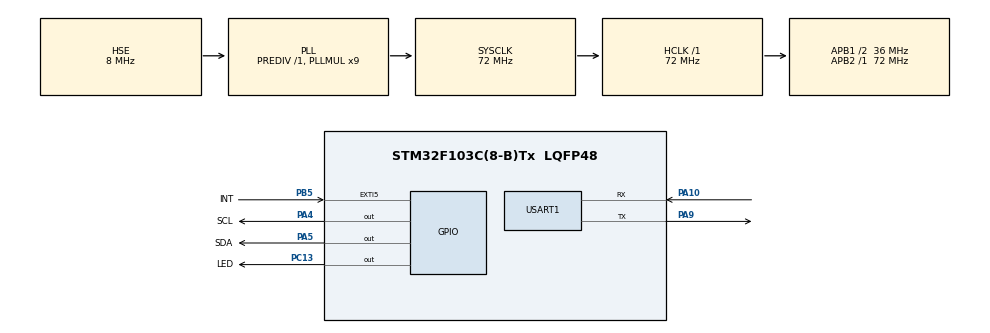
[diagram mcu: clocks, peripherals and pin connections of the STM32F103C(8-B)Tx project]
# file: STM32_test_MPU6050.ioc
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Mcu.Family=STM32F1
Mcu.Name=STM32F103C(8-B)Tx
Mcu.Package=LQFP48
NVIC.EXTI9_5_IRQn=true\:2\:1\:true\:false\:true\:true\:true\:true
NVIC.PriorityGroup=NVIC_PRIORITYGROUP_2
PA10.Mode=Asynchronous
PA10.Signal=USART1_RX
PA13.Mode=Serial_Wire
PA13.Signal=SYS_JTMS-SWDIO
PA14.Mode=Serial_Wire
PA14.Signal=SYS_JTCK-SWCLK
PA4.GPIO_Label=SCL
PA4.GPIO_ModeDefaultOutputPP=GPIO_MODE_OUTPUT_OD
PA4.GPIO_PuPd=GPIO_PULLUP
PA4.GPIO_Speed=GPIO_SPEED_FREQ_MEDIUM
PA4.Signal=GPIO_Output
PA5.GPIO_Label=SDA
PA5.GPIO_ModeDefaultOutputPP=GPIO_MODE_OUTPUT_OD
PA5.GPIO_PuPd=GPIO_PULLUP
PA5.GPIO_Speed=GPIO_SPEED_FREQ_MEDIUM
PA5.Signal=GPIO_Output
PA9.Mode=Asynchronous
PA9.Signal=USART1_TX
PB5.GPIO_Label=INT
PB5.GPIO_ModeDefaultEXTI=GPIO_MODE_IT_FALLING
PB5.GPIO_PuPd=GPIO_PULLUP
PB5.Signal=GPXTI5
PC13-TAMPER-RTC.GPIO_Label=LED
PC13-TAMPER-RTC.GPIO_ModeDefaultOutputPP=GPIO_MODE_OUTPUT_PP
PC13-TAMPER-RTC.GPIO_Speed=GPIO_SPEED_FREQ_MEDIUM
PC13-TAMPER-RTC.PinState=GPIO_PIN_SET
PC13-TAMPER-RTC.Signal=GPIO_Output
PD0-OSC_IN.Mode=HSE-External-Oscillator
PD0-OSC_IN.Signal=RCC_OSC_IN
PD1-OSC_OUT.Mode=HSE-External-Oscillator
PD1-OSC_OUT.Signal=RCC_OSC_OUT
ProjectManager.HeapSize=0x200
ProjectManager.StackSize=0x400
ProjectManager.TargetToolchain=MDK-ARM V5.27
RCC.AHBFreq_Value=72000000
RCC.APB1CLKDivider=RCC_HCLK_DIV2
RCC.APB1Freq_Value=36000000
RCC.APB1TimFreq_Value=72000000
RCC.APB2Freq_Value=72000000
RCC.APB2TimFreq_Value=72000000
RCC.HCLKFreq_Value=72000000
RCC.PLLMUL=RCC_PLL_MUL9
RCC.PLLSourceVirtual=RCC_PLLSOURCE_HSE
RCC.SYSCLKFreq_VALUE=72000000
RCC.SYSCLKSource=RCC_SYSCLKSOURCE_PLLCLK
RCC.USBFreq_Value=72000000
USART1.VirtualMode=VM_ASYNC
board=custom

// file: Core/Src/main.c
/* USER CODE BEGIN Header */
/**
  ******************************************************************************
  * @file           : main.c
  * @brief          : Main program body
  ******************************************************************************
  * @attention
  *
  * Copyright (c) 2022 STMicroelectronics.
  * All rights reserved.
  *
  * This software is licensed under terms that can be found in the LICENSE file
  * in the root directory of this software component.
  * If no LICENSE file comes with this software, it is provided AS-IS.
  *
  ******************************************************************************
  */
/* USER CODE END Header */
#include "main.h"
#include "usart.h"
#include "gpio.h"

/* USER CODE BEGIN Includes */
#include "stdio.h"
#include "IIC.h"
#include "mpu6050.h"
#include "inv_mpu.h"
#include "inv_mpu_dmp_motion_driver.h"
/* USER CODE END Includes */

/* USER CODE BEGIN PTD */
float pitch,roll,yaw; 		    //欧拉角
short aacx,aacy,aacz;			//加速度传感器原始数据
short gyrox,gyroy,gyroz;		//陀螺仪原始数据
float temp;					    //温度
uint8_t while_flag = 0;
int fputc(int ch,FILE *f)
{
	HAL_UART_Transmit (&huart1 ,(uint8_t *)&ch,1,HAL_MAX_DELAY );
	return ch;
}

void HAL_GPIO_EXTI_Callback(uint16_t GPIO_Pin)
{
//	printf("has entered the function\r\n");
	if(HAL_GPIO_ReadPin(INT_GPIO_Port,INT_Pin) == 0)
	{
		printf("has entered the function\r\n");
		if(while_flag == 1)
		{
			mpu_dmp_get_data(&pitch, &roll, &yaw);    //必须要用while等待，才能读取成功
			MPU_Get_Accelerometer(&aacx,&aacy, &aacz);		//得到加速度传感器数据
			MPU_Get_Gyroscope(&gyrox, &gyroy, &gyroz);		//得到陀螺仪数据
			printf("X:%.1f Y:%.1f Z:%.1f T:%.2f \r\n",roll,pitch,yaw,temp/100);//串口1输出采集信息
			HAL_GPIO_TogglePin(LED_GPIO_Port,LED_Pin);
		}

	}
}
/* USER CODE END PTD */

void SystemClock_Config(void);

int main(void)
{

  /* MCU Configuration--------------------------------------------------------*/

  /* Reset of all peripherals, Initializes the Flash interface and the Systick. */
  HAL_Init();

  /* Configure the system clock */
  SystemClock_Config();

  /* Initialize all configured peripherals */
  MX_GPIO_Init();
  MX_USART1_UART_Init();
  /* USER CODE BEGIN 2 */
  MPU_Init();			//MPU6050初始化
  mpu_dmp_init();		//dmp初始化
  printf("初始化成功！\r\n");
  /* USER CODE END 2 */

  /* Infinite loop */
  /* USER CODE BEGIN WHILE */
  while (1)
  {
	  while_flag = 1;
	  HAL_Delay(500);
      temp = MPU_Get_Temperature();						//得到温度信息
    /* USER CODE END WHILE */

  }
}

void SystemClock_Config(void)
{
  RCC_OscInitTypeDef RCC_OscInitStruct = {0};
  RCC_ClkInitTypeDef RCC_ClkInitStruct = {0};

  /** Initializes the RCC Oscillators according to the specified parameters
  * in the RCC_OscInitTypeDef structure.
  */
  RCC_OscInitStruct.OscillatorType = RCC_OSCILLATORTYPE_HSE;
  RCC_OscInitStruct.HSEState = RCC_HSE_ON;
  RCC_OscInitStruct.HSEPredivValue = RCC_HSE_PREDIV_DIV1;
  RCC_OscInitStruct.HSIState = RCC_HSI_ON;
  RCC_OscInitStruct.PLL.PLLState = RCC_PLL_ON;
  RCC_OscInitStruct.PLL.PLLSource = RCC_PLLSOURCE_HSE;
  RCC_OscInitStruct.PLL.PLLMUL = RCC_PLL_MUL9;
  if (HAL_RCC_OscConfig(&RCC_OscInitStruct) != HAL_OK)
  {
    Error_Handler();
  }

  /** Initializes the CPU, AHB and APB buses clocks
  */
  RCC_ClkInitStruct.ClockType = RCC_CLOCKTYPE_HCLK|RCC_CLOCKTYPE_SYSCLK
                              |RCC_CLOCKTYPE_PCLK1|RCC_CLOCKTYPE_PCLK2;
  RCC_ClkInitStruct.SYSCLKSource = RCC_SYSCLKSOURCE_PLLCLK;
  RCC_ClkInitStruct.AHBCLKDivider = RCC_SYSCLK_DIV1;
  RCC_ClkInitStruct.APB1CLKDivider = RCC_HCLK_DIV2;
  RCC_ClkInitStruct.APB2CLKDivider = RCC_HCLK_DIV1;

  if (HAL_RCC_ClockConfig(&RCC_ClkInitStruct, FLASH_LATENCY_2) != HAL_OK)
  {
    Error_Handler();
  }
}

void Error_Handler(void)
{
  __disable_irq();
  while (1)
  {
  }
}
